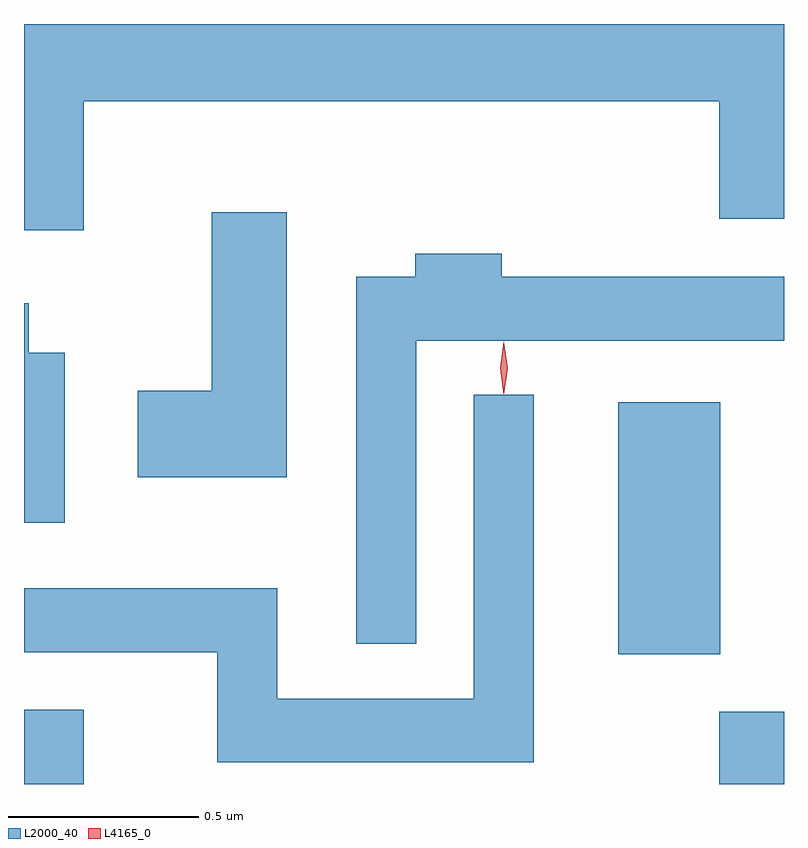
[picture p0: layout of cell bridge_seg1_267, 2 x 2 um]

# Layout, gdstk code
import gdstk
lib = gdstk.Library(unit=1e-6, precision=1e-09)
def R(c, l, rs):  # rectangles x0, y0, x1, y1
    for r in rs: c.add(gdstk.rectangle(r[:2], r[2:], *l))
def P(c, l, *ps):  # polygons
    for p in ps: c.add(gdstk.Polygon(p, *l))
L2000_40 = (2000, 40)
L4165_0 = (4165, 0)

bridge_seg1_267 = lib.new_cell('bridge_seg1_267')
R(bridge_seg1_267, L2000_40, [(959.982,884.459,960.139,884.654), (961.811,884.459,961.982,884.649), (961.546,884.801,961.814,885.464)])
P(bridge_seg1_267, L2000_40, [(960.139,886.256),(961.811,886.256),(961.811,885.946),(961.982,885.946),(961.982,886.459),(959.982,886.459),(959.982,885.916),(960.139,885.916)],
  [(960.674,885.964),(960.476,885.964),(960.476,885.494),(960.281,885.494),(960.281,885.266),(960.674,885.266)],
  [(961.014,885.626),(961.982,885.626),(961.982,885.794),(961.239,885.794),(961.239,885.854),(961.011,885.854),(961.011,885.794),(960.856,885.794),(960.856,884.828),(961.014,884.828)],
  [(960.089,885.594),(959.994,885.594),(959.994,885.724),(959.982,885.724),(959.982,885.146),(960.089,885.146)],
  [(961.324,885.483),(961.166,885.483),(961.166,884.684),(960.649,884.684),(960.649,884.974),(959.982,884.974),(959.982,884.806),(960.491,884.806),(960.491,884.516),(961.324,884.516)])
P(bridge_seg1_267, L4165_0, [(961.244,885.484),(961.235,885.553),(961.244,885.623),(961.245,885.623),(961.245,885.623),(961.255,885.553),(961.245,885.484),(961.245,885.484)])

lib.write_gds('bridge_seg1_267.gds')
